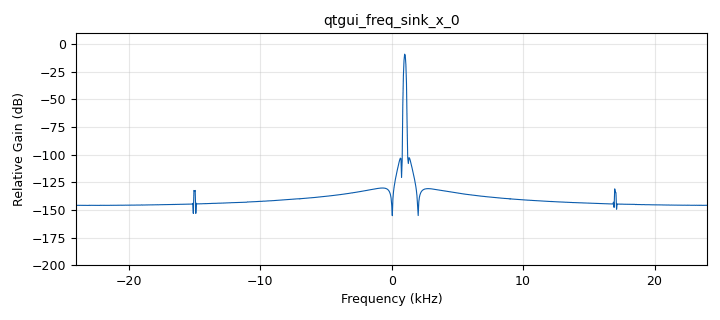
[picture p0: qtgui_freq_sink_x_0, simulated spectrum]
options:
  parameters:
    author: Muthanna A. Alwahash
    copyright: '2024'
    generate_options: qt_gui
    id: signal_to_audio
    output_language: python
    title: Signal to Audio
  states: {}

blocks:
- name: samp_rate
  id: variable
  parameters:
    value: '48000'
  states: {}
- name: analog_sig_source_x_0
  id: analog_sig_source_x
  parameters:
    amp: '1'
    freq: '1000'
    offset: '0'
    phase: '0'
    samp_rate: samp_rate
    type: complex
    waveform: analog.GR_SIN_WAVE
  states: {}
- name: audio_sink_0
  id: audio_sink
  parameters:
    samp_rate: samp_rate
  states: {}
- name: blocks_complex_to_float_0
  id: blocks_complex_to_float
  parameters: {}
  states: {}
- name: qtgui_freq_sink_x_0
  id: qtgui_freq_sink_x
  parameters:
    bw: samp_rate
    fc: '0'
    fftsize: '1024'
    type: complex
    ymin: '-200'
  states: {}

connections:
- [analog_sig_source_x_0, '0', blocks_complex_to_float_0, '0']
- [analog_sig_source_x_0, '0', qtgui_freq_sink_x_0, '0']
- [blocks_complex_to_float_0, '0', audio_sink_0, '0']

metadata:
  file_format: 1
  grc_version: 3.10.12.0
